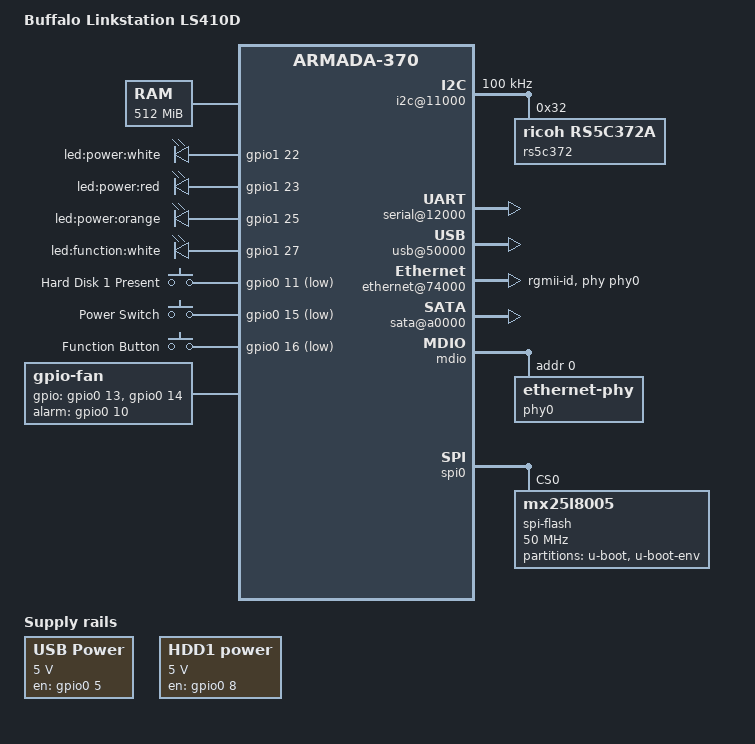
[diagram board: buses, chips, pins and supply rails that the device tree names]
// SPDX-License-Identifier: (GPL-2.0+ OR MIT)
/*
* Device Tree file for Buffalo Linkstation LS410D
*
* Jeremy J. Peper, based on device trees created by
* Steve Shih <shihsung@gmail.com> and Toha <tohenk@yahoo.com>
*
*/

/dts-v1/;

#include <dt-bindings/input/input.h>
#include <dt-bindings/gpio/gpio.h>
#include "armada-370.dtsi"

/ {
	model = "Buffalo Linkstation LS410D";
	compatible = "buffalo,ls410d", "marvell,armada370", "marvell,armada-370-xp";

	chosen
	{
		bootargs = "earlyprintk boot=local";
		stdout-path = "serial0:115200n8";
	};

	memory
	{
		device_type = "memory";
		reg = <0x00000000 0x20000000>; /* 512 MB */
	};

	soc
	{
		ranges = <MBUS_ID(0xf0, 0x01) 0 0xd0000000 0x100000
			MBUS_ID(0x01, 0xe0) 0 0xfff00000 0x100000
			MBUS_ID(0x09, 0x01) 0 0xf1100000 0x10000>;

		internal-regs
		{
			rtc@10300
			{
				status = "disabled";
			};
			i2c@11000
			{
				status = "okay";
				clock-frequency = <100000>;

				rs5c372: rs5c372@32
				{
					compatible = "ricoh,rs5c372a";
					reg = <0x32>;
				};
			};

			serial@12000
			{
				status = "okay";
			};

			timer@20300
			{
				status = "okay";
			};

			usb@50000
			{
				status = "okay";
			};

			ethernet@74000
			{
				status = "okay";
				phy = <&phy0>;
				phy-mode = "rgmii-id";
			};

			sata@a0000
			{
				nr-ports = <1>;
				status = "okay";
			};
		};
	};

	regulators
	{
		compatible = "simple-bus";
		#address-cells = <1>;
		#size-cells = <0>;
		pinctrl-0 = <&usb_pwr &hdd_pwr1>;
		pinctrl-names = "default";

		regulator@0
		{
			compatible = "regulator-fixed";
			reg = <0>;
			regulator-name = "USB Power";
			regulator-min-microvolt = <5000000>;
			regulator-max-microvolt = <5000000>;
			enable-active-high;
			regulator-always-on;
			regulator-boot-on;
			gpio = <&gpio0 5 GPIO_ACTIVE_LOW>;
		};

		regulator@1
		{
			compatible = "regulator-fixed";
			reg = <1>;
			regulator-name = "HDD1 power";
			regulator-min-microvolt = <5000000>;
			regulator-max-microvolt = <5000000>;
			enable-active-high;
			regulator-always-on;
			regulator-boot-on;
			gpio = <&gpio0 8 GPIO_ACTIVE_HIGH>;
		};
	};

	gpio-leds
	{
		compatible = "gpio-leds";
		pinctrl-names = "default";
		pinctrl-0 = <&power_led_white &power_led_red &power_led_orange &function_led_white>;

		power-led-white
		{
			label = "led:power:white";
			gpios = <&gpio1 22 GPIO_ACTIVE_HIGH>;
			default-state = "on";
		};

		power-led-red
		{
			label = "led:power:red";
			gpios = <&gpio1 23 GPIO_ACTIVE_HIGH>;
			default-state = "off";
		};

		power-led-orange
		{
			label = "led:power:orange";
			gpios = <&gpio1 25 GPIO_ACTIVE_HIGH>;
			default-state = "off";
		};

		function-led-white
		{
			label = "led:function:white";
			gpios = <&gpio1 27 GPIO_ACTIVE_HIGH>;
			linux,default-trigger = "disk-activity";
		};
	};

	restart_poweroff
	{
		compatible = "restart-poweroff";
	};

	gpio-keys
	{
		compatible = "gpio-keys";
		pinctrl-0 = <&hdd1_present &power_switch &function_button>;
		pinctrl-names = "default";

		hdd1-present
		{
			label = "Hard Disk 1 Present";
			linux,code = <KEY_PROG1>;
			gpios = <&gpio0 11 GPIO_ACTIVE_LOW>;
		};

		power-switch
		{
			label = "Power Switch";
			linux,code = <KEY_ESC>;
			gpios = <&gpio0 15 GPIO_ACTIVE_LOW>;
		};

		function-button
		{
			label = "Function Button";
			linux,code = <KEY_OPTION>;
			gpios = <&gpio0 16 GPIO_ACTIVE_LOW>;
		};
	};

	gpio-fan
	{
		compatible = "gpio-fan";
		pinctrl-0 = <&fan_low &fan_high &fan_alarm>;
		pinctrl-names = "default";
		gpios = <&gpio0 13 GPIO_ACTIVE_HIGH
			 &gpio0 14 GPIO_ACTIVE_HIGH>;
		gpio-fan,speed-map = <0    3
				      2050 2
				      3600 1
				      4500 0>;
		alarm-gpios = <&gpio0 10 GPIO_ACTIVE_HIGH>;
	};
};

&mdio
{
	phy0: ethernet-phy@0
	{
		reg = <0>;
		//LED0: on/blink on act, LED1: off (not connected) LED2: Force on (signals boot loader to reboot by default) 
		marvell,reg-init = <0x3 0x10 0xf000 0x0981>;
	};

};

&spi0
{
	status = "okay";
	pinctrl-0 = <&spi0_pins2>;

	spi-flash@0
	{
		#address-cells = <1>;
		#size-cells = <1>;
		compatible = "mx25l8005", "jedec,spi-nor";
		reg = <0>;
		spi-max-frequency = <50000000>;

		partition@00000
		{
			label = "u-boot";
			reg = <0x00000 0xf0000>;
			read-only;
		};

		partition@f0000
		{
			label = "u-boot-env";
			reg = <0xf0000 0x10000>;
			read-only;
		};
	};
};



&pinctrl
{
	usb_pwr: usb-pwr
	{
		marvell,pins = "mpp5";
		marvell,function = "gpo";
	};

	hdd_pwr1: hdd-pwr1
	{
		marvell,pins = "mpp8";
		marvell,function = "gpio";
	};


	fan_alarm: fan-alarm
	{
		marvell,pins = "mpp10";
		marvell,function = "gpio";
	};
	hdd1_present: hdd1-present
	{
		marvell,pins = "mpp11";
		marvell,function = "gpio";
	};


	fan_high: fan-high
	{
		marvell,pins = "mpp13";
		marvell,function = "gpio";
	};
	
	fan_low: fan-low
	{
		marvell,pins = "mpp14";
		marvell,function = "gpio";
	};

	power_switch: power-switch
	{
		marvell,pins = "mpp15";
		marvell,function = "gpio";
	};
	
	function_button: function-button
	{
		marvell,pins = "mpp16";
		marvell,function = "gpio";
	};

	power_led_white: power-led-white
	{
		marvell,pins = "mpp54";
		marvell,function = "gpo";
	};

	power_led_red: power-led-red
	{
		marvell,pins = "mpp55";
		marvell,function = "gpio";
	};

	power_led_orange: power-led-orange
	{
		marvell,pins = "mpp57";
		marvell,function = "gpio";
	};

	function_led_white: function-led-white
	{
		marvell,pins = "mpp59";
		marvell,function = "gpo";
	};

};
